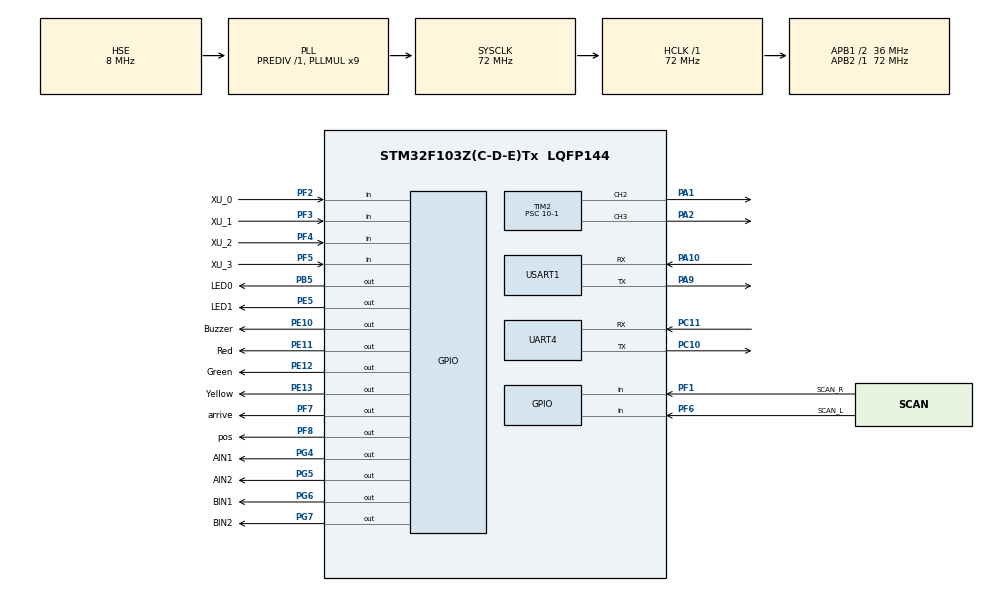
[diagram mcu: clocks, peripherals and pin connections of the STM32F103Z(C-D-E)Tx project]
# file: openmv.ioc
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Mcu.Family=STM32F1
Mcu.Name=STM32F103Z(C-D-E)Tx
Mcu.Package=LQFP144
NVIC.PriorityGroup=NVIC_PRIORITYGROUP_4
NVIC.TIM2_IRQn=true\:0\:0\:false\:false\:true\:true\:true
NVIC.TIM3_IRQn=true\:0\:0\:false\:false\:true\:true\:true
NVIC.UART4_IRQn=true\:1\:0\:true\:false\:true\:true\:true
NVIC.USART1_IRQn=true\:2\:0\:true\:false\:true\:true\:true
OSC_IN.Mode=HSE-External-Oscillator
OSC_IN.Signal=RCC_OSC_IN
OSC_OUT.Mode=HSE-External-Oscillator
OSC_OUT.Signal=RCC_OSC_OUT
PA1.Signal=S_TIM2_CH2
PA10.Mode=Asynchronous
PA10.Signal=USART1_RX
PA13.Mode=Serial_Wire
PA13.Signal=SYS_JTMS-SWDIO
PA14.Mode=Serial_Wire
PA14.Signal=SYS_JTCK-SWCLK
PA2.Signal=S_TIM2_CH3
PA9.Mode=Asynchronous
PA9.Signal=USART1_TX
PB5.GPIO_Label=LED0
PB5.Signal=GPIO_Output
PC10.Mode=Asynchronous
PC10.Signal=UART4_TX
PC11.Mode=Asynchronous
PC11.Signal=UART4_RX
PE10.GPIO_Label=Buzzer
PE10.GPIO_PuPd=GPIO_PULLUP
PE10.Signal=GPIO_Output
PE11.GPIO_Label=Red
PE11.GPIO_PuPd=GPIO_PULLDOWN
PE11.Signal=GPIO_Output
PE12.GPIO_Label=Green
PE12.GPIO_PuPd=GPIO_PULLDOWN
PE12.Signal=GPIO_Output
PE13.GPIO_Label=Yellow
PE13.GPIO_PuPd=GPIO_PULLDOWN
PE13.Signal=GPIO_Output
PE5.GPIO_Label=LED1
PE5.Signal=GPIO_Output
PF1.GPIO_Label=SCAN_R
PF1.GPIO_PuPd=GPIO_PULLUP
PF1.Signal=GPIO_Input
PF2.GPIO_Label=XU_0
PF2.GPIO_PuPd=GPIO_PULLDOWN
PF2.Signal=GPIO_Input
PF3.GPIO_Label=XU_1
PF3.GPIO_PuPd=GPIO_PULLDOWN
PF3.Signal=GPIO_Input
PF4.GPIO_Label=XU_2
PF4.GPIO_PuPd=GPIO_PULLDOWN
PF4.Signal=GPIO_Input
PF5.GPIO_Label=XU_3
PF5.GPIO_PuPd=GPIO_PULLDOWN
PF5.Signal=GPIO_Input
PF6.GPIO_Label=SCAN_L
PF6.GPIO_PuPd=GPIO_PULLUP
PF6.Signal=GPIO_Input
PF7.GPIO_Label=arrive
PF7.GPIO_PuPd=GPIO_PULLDOWN
PF7.Signal=GPIO_Output
PF8.GPIO_Label=pos
PF8.GPIO_PuPd=GPIO_NOPULL
PF8.Signal=GPIO_Output
PG4.GPIO_Label=AIN1
PG4.GPIO_Speed=GPIO_SPEED_FREQ_LOW
PG4.PinState=GPIO_PIN_RESET
PG4.Signal=GPIO_Output
PG5.GPIO_Label=AIN2
PG5.Signal=GPIO_Output
PG6.GPIO_Label=BIN1
PG6.Signal=GPIO_Output
PG7.GPIO_Label=BIN2
PG7.Signal=GPIO_Output
ProjectManager.HeapSize=0x200
ProjectManager.StackSize=0x400
ProjectManager.TargetToolchain=MDK-ARM V5.27
RCC.AHBFreq_Value=72000000
RCC.APB1CLKDivider=RCC_HCLK_DIV2
RCC.APB1Freq_Value=36000000
RCC.APB1TimFreq_Value=72000000
RCC.APB2Freq_Value=72000000
RCC.APB2TimFreq_Value=72000000
RCC.HCLKFreq_Value=72000000
RCC.PLLMUL=RCC_PLL_MUL9
RCC.PLLSourceVirtual=RCC_PLLSOURCE_HSE
RCC.SYSCLKFreq_VALUE=72000000
RCC.SYSCLKSource=RCC_SYSCLKSOURCE_PLLCLK
RCC.USBFreq_Value=72000000
SH.S_TIM2_CH2.0=TIM2_CH2,PWM Generation2 CH2
SH.S_TIM2_CH3.0=TIM2_CH3,PWM Generation3 CH3
TIM2.Channel-PWM\ Generation2\ CH2=TIM_CHANNEL_2
TIM2.Channel-PWM\ Generation3\ CH3=TIM_CHANNEL_3
TIM2.OCFastMode_PWM-PWM\ Generation2\ CH2=TIM_OCFAST_ENABLE
TIM2.OCFastMode_PWM-PWM\ Generation3\ CH3=TIM_OCFAST_ENABLE
TIM2.Period=330-1
TIM2.Prescaler=10-1
TIM3.Period=10000-1
TIM3.Prescaler=720-1
UART4.VirtualMode=Asynchronous
USART1.VirtualMode=VM_ASYNC
VP_TIM2_VS_ClockSourceINT.Mode=Internal
VP_TIM3_VS_ClockSourceINT.Mode=Internal
board=custom

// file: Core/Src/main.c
/* USER CODE BEGIN Header */
/**
  ******************************************************************************
  * @file           : main.c
  * @brief          : Main program body
  ******************************************************************************
  * @attention
  *
  * <h2><center>&copy; Copyright (c) 2021 STMicroelectronics.
  * All rights reserved.</center></h2>
  *
  * This software component is licensed by ST under BSD 3-Clause license,
  * the "License"; You may not use this file except in compliance with the
  * License. You may obtain a copy of the License at:
  *                        opensource.org/licenses/BSD-3-Clause
  *
  ******************************************************************************
  */
/* USER CODE END Header */
#include "main.h"
#include "tim.h"
#include "usart.h"
#include "gpio.h"

/* USER CODE BEGIN Includes */
#include "OpenMV.h"
#include "stdio.h"
/* USER CODE END Includes */

/* USER CODE BEGIN PTD */
uint8_t usart1_rxbuff;
uint8_t uart4_rxbuff;
uint8_t timer_count;
uint8_t cross2 = 0;
uint8_t cross3 = 0;
uint8_t cross4 = 0;
uint8_t cross5 = 0;
uint8_t startit = 0;
uint8_t start_move = 0;
uint8_t number_get_remind = 0;
extern uint8_t  Cx;
extern uint8_t  Cy;
/* USER CODE END PTD */

/* USER CODE BEGIN PD */
#define Get_Redline_L (HAL_GPIO_ReadPin(SCAN_L_GPIO_Port,SCAN_L_Pin) == 1)
#define Get_Redline_R (HAL_GPIO_ReadPin(SCAN_R_GPIO_Port,SCAN_R_Pin) == 1)
#define Get_line_0 (HAL_GPIO_ReadPin(XU_0_GPIO_Port,XU_0_Pin) == 1)
#define Get_line_1 (HAL_GPIO_ReadPin(XU_1_GPIO_Port,XU_1_Pin) == 1)
#define Get_line_2 (HAL_GPIO_ReadPin(XU_2_GPIO_Port,XU_2_Pin) == 1)
#define Get_yao (HAL_GPIO_ReadPin(XU_3_GPIO_Port,XU_3_Pin) == 1)
#define relse_yao (HAL_GPIO_ReadPin(XU_3_GPIO_Port,XU_3_Pin) == 0)

#define Red_LED_ON		HAL_GPIO_WritePin (Red_GPIO_Port,Red_Pin,GPIO_PIN_SET);
#define Red_LED_OFF		HAL_GPIO_WritePin (Red_GPIO_Port,Red_Pin,GPIO_PIN_RESET);
#define Green_LED_ON		HAL_GPIO_WritePin (Green_GPIO_Port,Green_Pin,GPIO_PIN_SET);
#define Green_LED_OFF		HAL_GPIO_WritePin (Green_GPIO_Port,Green_Pin,GPIO_PIN_RESET);
#define Yellow_LED_ON		HAL_GPIO_WritePin (Yellow_GPIO_Port,Yellow_Pin,GPIO_PIN_SET);
#define Yellow_LED_OFF		HAL_GPIO_WritePin (Yellow_GPIO_Port,Yellow_Pin,GPIO_PIN_RESET);
#define Buzzer_ON		HAL_GPIO_WritePin (Buzzer_GPIO_Port,Buzzer_Pin,GPIO_PIN_RESET);
#define Buzzer_OFF		HAL_GPIO_WritePin (Buzzer_GPIO_Port,Buzzer_Pin,GPIO_PIN_SET);

#define arrive HAL_GPIO_WritePin (arrive_GPIO_Port,arrive_Pin,GPIO_PIN_SET);
#define car2right HAL_GPIO_WritePin (pos_GPIO_Port,pos_Pin,GPIO_PIN_SET);
#define carleft HAL_GPIO_WritePin (pos_GPIO_Port,pos_Pin,GPIO_PIN_RESET);
/* USER CODE END PD */

void SystemClock_Config(void);

/* USER CODE BEGIN 0 */

void TIM_SetTIM2Compare3 (uint32_t compare)
{
  TIM2->CCR3=compare;
}

void TIM_SetTIM2Compare2 (uint32_t compare)
{
  TIM2->CCR2=compare;
}

void go_straight(uint16_t speed){
	TIM_SetTIM2Compare2(speed);
	TIM_SetTIM2Compare3(speed);
	HAL_GPIO_WritePin (AIN1_GPIO_Port,AIN1_Pin,GPIO_PIN_RESET);
	HAL_GPIO_WritePin (AIN2_GPIO_Port,AIN2_Pin,GPIO_PIN_SET);

	HAL_GPIO_WritePin (BIN1_GPIO_Port,BIN1_Pin,GPIO_PIN_RESET);
	HAL_GPIO_WritePin (BIN2_GPIO_Port,BIN2_Pin,GPIO_PIN_SET);
}
void go_back(uint16_t speed){
	TIM_SetTIM2Compare2(speed);
	TIM_SetTIM2Compare3(speed);
	HAL_GPIO_WritePin (AIN1_GPIO_Port,AIN1_Pin,GPIO_PIN_SET);
	HAL_GPIO_WritePin (AIN2_GPIO_Port,AIN2_Pin,GPIO_PIN_RESET);

	HAL_GPIO_WritePin (BIN1_GPIO_Port,BIN1_Pin,GPIO_PIN_SET);
	HAL_GPIO_WritePin (BIN2_GPIO_Port,BIN2_Pin,GPIO_PIN_RESET);
}

void stop(){

	HAL_GPIO_WritePin (AIN1_GPIO_Port,AIN1_Pin,GPIO_PIN_RESET);
	HAL_GPIO_WritePin (AIN2_GPIO_Port,AIN2_Pin,GPIO_PIN_RESET);

	HAL_GPIO_WritePin (BIN1_GPIO_Port,BIN1_Pin,GPIO_PIN_RESET);
	HAL_GPIO_WritePin (BIN2_GPIO_Port,BIN2_Pin,GPIO_PIN_RESET);
}

void turn_right(){
		TIM_SetTIM2Compare2(120);
		TIM_SetTIM2Compare3(120);
		HAL_GPIO_WritePin (AIN1_GPIO_Port,AIN1_Pin,GPIO_PIN_RESET);
		HAL_GPIO_WritePin (AIN2_GPIO_Port,AIN2_Pin,GPIO_PIN_SET);

		HAL_GPIO_WritePin (BIN1_GPIO_Port,BIN1_Pin,GPIO_PIN_SET);
		HAL_GPIO_WritePin (BIN2_GPIO_Port,BIN2_Pin,GPIO_PIN_RESET);
}

void turn_back(uint16_t h,uint16_t l){
		TIM_SetTIM2Compare2(h);
		TIM_SetTIM2Compare3(l);
		HAL_GPIO_WritePin (AIN1_GPIO_Port,AIN1_Pin,GPIO_PIN_SET);
		HAL_GPIO_WritePin (AIN2_GPIO_Port,AIN2_Pin,GPIO_PIN_RESET);

		HAL_GPIO_WritePin (BIN1_GPIO_Port,BIN1_Pin,GPIO_PIN_RESET);
		HAL_GPIO_WritePin (BIN2_GPIO_Port,BIN2_Pin,GPIO_PIN_SET);
}

void turn_left(){
	TIM_SetTIM2Compare2(120);
	TIM_SetTIM2Compare3(120);
	HAL_GPIO_WritePin (AIN1_GPIO_Port,AIN1_Pin,GPIO_PIN_SET);
	HAL_GPIO_WritePin (AIN2_GPIO_Port,AIN2_Pin,GPIO_PIN_RESET);

	HAL_GPIO_WritePin (BIN1_GPIO_Port,BIN1_Pin,GPIO_PIN_RESET);
	HAL_GPIO_WritePin (BIN2_GPIO_Port,BIN2_Pin,GPIO_PIN_SET);
}

void scan_right(uint16_t h,uint16_t l){
		TIM_SetTIM2Compare2(l);
		TIM_SetTIM2Compare3(h);
		HAL_GPIO_WritePin (AIN1_GPIO_Port,AIN1_Pin,GPIO_PIN_RESET);
		HAL_GPIO_WritePin (AIN2_GPIO_Port,AIN2_Pin,GPIO_PIN_SET);

		HAL_GPIO_WritePin (BIN1_GPIO_Port,BIN1_Pin,GPIO_PIN_RESET);
		HAL_GPIO_WritePin (BIN2_GPIO_Port,BIN2_Pin,GPIO_PIN_SET);
}

void scan_left(uint16_t h,uint16_t l){
		TIM_SetTIM2Compare2(h);
		TIM_SetTIM2Compare3(l);
		HAL_GPIO_WritePin (AIN1_GPIO_Port,AIN1_Pin,GPIO_PIN_RESET);
		HAL_GPIO_WritePin (AIN2_GPIO_Port,AIN2_Pin,GPIO_PIN_SET);

		HAL_GPIO_WritePin (BIN1_GPIO_Port,BIN1_Pin,GPIO_PIN_RESET);
		HAL_GPIO_WritePin (BIN2_GPIO_Port,BIN2_Pin,GPIO_PIN_SET);

}

void HAL_TIM_PeriodElapsedCallback(TIM_HandleTypeDef *htim)
{
	timer_count++;
	if(timer_count == 100){
		cross2 = 1;
		timer_count = 0;
		HAL_TIM_Base_Stop_IT(&htim3);
	}
}
/* USER CODE END 0 */

int main(void)
{

  /* MCU Configuration--------------------------------------------------------*/

  /* Reset of all peripherals, Initializes the Flash interface and the Systick. */
  HAL_Init();

  /* Configure the system clock */
  SystemClock_Config();

  /* Initialize all configured peripherals */
  MX_GPIO_Init();
  MX_UART4_Init();
  MX_USART1_UART_Init();
  MX_TIM2_Init();
  MX_TIM3_Init();
  /* USER CODE BEGIN 2 */
	HAL_UART_Receive_IT(&huart4,(void *)&uart4_rxbuff,1);
	HAL_UART_Receive_IT(&huart1,(void *)&usart1_rxbuff,1);
	uint8_t turn_count = 0;
	uint8_t back = 0;
	uint8_t back_ok = 0;
	uint8_t cross = 0;
	uint8_t cross2_turn_ok = 0;
	uint8_t back2_ok = 0;
	uint8_t turn_ok = 0;
	uint8_t turn1_ok = 0;
	uint8_t turn2_ok = 0;
	Buzzer_OFF;
  /* USER CODE END 2 */

  /* Infinite loop */
  while (1)
  {

    /* USER CODE BEGIN 3 */
		/*************************************************************			number2     *********************************************/
		if(Cx == 2){
			while(number_get_remind == 0){
				Buzzer_ON;
				HAL_Delay(500);
				Buzzer_OFF;
				number_get_remind = 1;
			}
		if(Cx == 2 && Get_yao && back == 0){
		 while(start_move == 0){
				go_straight(70);
				HAL_Delay(800);
				start_move = 1;
			}
			go_straight(70);
			if(Get_Redline_L){
				scan_right(210,0);
			}
			if(Get_Redline_R){
				scan_left(210,0);
			}
			if(Get_Redline_L && Get_Redline_R){
				HAL_Delay(100);
				turn_right();
				HAL_Delay(600);
			}
			if(Get_line_0 || Get_line_1 || Get_line_2 ){
				stop();
		  	Red_LED_ON;
				HAL_Delay(1000);
				back = 1;
			}
		}

		 if(relse_yao && back == 1 && back_ok == 0){
			  Red_LED_OFF;
			  HAL_Delay(500);
			  turn_back(128,128);
				HAL_Delay(1200);
			  back_ok = 1;
	  	}
     if (back_ok == 1 && back2_ok == 0){
				go_straight(70);
			if(Get_Redline_L && Get_Redline_R){
				turn_left();
				HAL_Delay(600);
				back2_ok = 1;
			}
			if(Get_Redline_L){
				scan_right(210,0);
			}
			if(Get_Redline_R){
				scan_left(210,0);
			}
			}
		 	if(back2_ok == 1){
				go_straight(70);
				if(Get_Redline_L){
					scan_right(210,0);
				}
				if(Get_Redline_R){
					scan_left(210,0);
				}
				if(Get_line_0 || Get_line_1 || Get_line_2 ){
					stop();
					Green_LED_ON;
					HAL_Delay(9000);
				}
		}
		}
/******************************************************************************************************************************/

/*************************************************************			number1     *********************************************/

		if(Cx == 1){
			while(number_get_remind == 0){
				Buzzer_ON;
				HAL_Delay(500);
				Buzzer_OFF;
				number_get_remind = 1;
			}
		if(Cx == 1 && Get_yao && back == 0  ){
			while(start_move == 0){
				go_straight(70);
				HAL_Delay(800);
				start_move = 1;
			}
			go_straight(70);
			if(Get_Redline_L){
				scan_right(210,0);
			}
			if(Get_Redline_R){
				scan_left(210,0);
			}
			if(Get_Redline_L && Get_Redline_R){
				HAL_Delay(50);
				turn_left();
				HAL_Delay(700);
			}
			if(Get_line_0 || Get_line_1 || Get_line_2 ){
				stop();
				Red_LED_ON;
				back = 1;
				HAL_Delay(1000);
			}
		}

		 if(relse_yao && back == 1 && back_ok == 0){
			 	Red_LED_OFF;
			  HAL_Delay(500);
				turn_back(128,128);
				HAL_Delay(1200);
			  back_ok = 1;
	  	}

     if (back_ok == 1 && back2_ok == 0){
				go_straight(70);
			if(Get_Redline_L && Get_Redline_R){
			  HAL_Delay(80);
        turn_right();
				HAL_Delay(600);
				back2_ok = 1;
			}
			if(Get_Redline_L){
				scan_right(210,0);
			}
			if(Get_Redline_R){
				scan_left(210,0);
			}
			}

			if(back2_ok == 1){
				go_straight(70);
				if(Get_Redline_L){
					scan_right(210,0);
				}
				if(Get_Redline_R){
					scan_left(210,0);
				}
				if(Get_line_0 || Get_line_1 || Get_line_2 ){
					stop();
					Green_LED_ON;
					HAL_Delay(9000);
				}
		}
		}
/*********************************************************************************************************/

/******************************************************number3************************************************/
	/*	if(Cx == 3){
			while(number_get_remind == 0){
				Buzzer_ON;
				HAL_Delay(500);
				Buzzer_OFF;
				number_get_remind = 1;
			}
			if(Cx == 3 && Get_yao && cross == 0  && cross2 == 0 && cross3 == 0 && cross4 == 0 && cross5 == 0 ){
			 while(start_move == 0){
				go_straight(70);
				HAL_Delay(800);
				start_move = 1;
			}
			go_straight(110);
			if(Get_Redline_L){
				scan_right(130,50);
			}
			if(Get_Redline_R){
				scan_left(130,50);
			}

			if(Cy == 0 && Get_Redline_L && Get_Redline_R){
				cross = 1;
		  	go_straight(110);
				HAL_Delay(1620);
				stop();
			}
		}
			if(cross == 1 && Cy == 0 && cross2 == 0 && cross2 == 0 && cross3 == 0 && cross4 == 0 && cross5 == 0 ){
        while(startit == 0){
					HAL_TIM_Base_Start_IT(&htim3);
					startit = 1;
				}
				for(uint8_t i=0;i<80;i++){
					go_back(i);
					HAL_Delay(12);
				}
				for(uint8_t i=0;i<80;i++){
			    go_straight(i);
					HAL_Delay(12);
				}
			}

//misson 2

			if(Cy == 1 && cross == 1 && turn_ok == 0  && back == 0 && cross2 == 0){
				go_straight(110);
				if(Get_Redline_L){
					scan_right(200,0);
				}
				if(Get_Redline_R){
					scan_left(200,0);
				}
	     if(Get_Redline_L && Get_Redline_R){
					HAL_Delay(60);
					turn_left();
					HAL_Delay(1000);
				  turn_ok = 1;
			 }
			}

			if(Cy == 1 && cross == 1 && turn_ok == 1 && back == 0 && turn1_ok == 0 && cross2 == 0){
				go_straight(80);
				if(Get_Redline_L){
					scan_right(210,0);
				}
				if(Get_Redline_R){
					scan_left(210,0);
				}
		 if(Get_line_0 || Get_line_1 || Get_line_2 ){
				stop();
				Red_LED_ON;
				back = 1;
				HAL_Delay(1000);
			}
		}

			if(Cy == 2 && cross == 1 && turn_ok == 0  && back == 0 && cross2 == 0){
				go_straight(110);
				if(Get_Redline_L){
					scan_right(200,0);
				}
				if(Get_Redline_R){
					scan_left(200,0);
				}
	     if(Get_Redline_L && Get_Redline_R){
					HAL_Delay(60);
					turn_right();
					HAL_Delay(800);
				  turn_ok = 1;
			 }
			}
		if(Cy == 2 && cross == 1 && turn_ok == 1 && back == 0 && turn1_ok == 0 && cross2 == 0){
				go_straight(80);
				if(Get_Redline_L){
					scan_right(210,0);
				}
				if(Get_Redline_R){
					scan_left(210,0);
				}
		 if(Get_line_0 || Get_line_1 || Get_line_2 ){
				stop();
				Red_LED_ON;
				back = 1;
				HAL_Delay(1000);
			}
		}

		 if(relse_yao && back == 1 && back_ok == 0 && cross2 == 0){
			 	Red_LED_OFF;
			  back_ok = 1;
				turn_back(128,128);
				HAL_Delay(1300);
	  	}

		 if (Cy == 2 && back_ok == 1 && turn1_ok == 0 && cross2 == 0){
				go_straight(110);
			if(Get_Redline_L){
					scan_right(210,0);
				}
				if(Get_Redline_R){
					scan_left(210,0);
				}
			if(Get_Redline_L && Get_Redline_R) {
        turn_left();
				HAL_Delay(720);
				back2_ok = 1;
				turn1_ok = 1;
			}
		}

			if (Cy == 1 && back_ok == 1 && turn1_ok == 0 && cross2 == 0){
				go_straight(110);
			if(Get_Redline_L){
					scan_right(210,0);
				}
				if(Get_Redline_R){
					scan_left(210,0);
				}
			if(Get_Redline_L && Get_Redline_R){
        turn_right();
				HAL_Delay(800);
				back2_ok = 1;
				turn1_ok = 1;
			}
		}

		 if (back2_ok == 1 && turn2_ok == 0 && turn1_ok == 1 && cross2 == 0 && cross3 == 0 && cross4 == 0 && cross5 == 0  && Cy != 0 ){
			 go_straight(140);
			if(Get_Redline_L){
				scan_right(210,0);
			}
			if(Get_Redline_R){
				scan_left(210,0);
			}
			if(Get_Redline_L && Get_Redline_R){
					turn2_ok = 1;
			}
		}

		 if (back2_ok == 1 && turn2_ok == 1 && turn1_ok == 1 && cross2 == 0 && cross3 == 0 && cross4 == 0 && cross5 == 0 && Cy != 0 ){
		   go_straight(80);
			 if(Get_Redline_L){
				scan_right(210,0);
			}
			if(Get_Redline_R){
				scan_left(210,0);
			}
		 	if(Get_line_0 || Get_line_1 || Get_line_2 ){
				stop();
				Green_LED_ON;
				HAL_Delay(9000);
			}
		 }

//misson 3
		 if (Cy == 0 && cross2 == 1 && cross2_turn_ok == 0 &&	cross4 == 0 && cross5 == 0){
			 while (cross3 == 0){
				 	go_straight(110);
				 HAL_Delay(1000);
				 cross3 = 1;
			 }
				go_straight(110);
				if(Get_Redline_L){
					scan_right(210,0);
				}
				if(Get_Redline_R){
					scan_left(210,0);
				}
			if(Get_Redline_L && Get_Redline_R){
				cross4 = 1;
				turn_left();
				HAL_Delay(1100);
			}
		 }
		 if (Cy == 0 && cross2 == 1 && cross2_turn_ok == 0 && cross3 == 1 && cross4 == 1 && cross5 == 0){
			 	go_straight(110);
				if(Get_Redline_L){
					scan_right(210,0);
				}
				if(Get_Redline_R){
					scan_left(210,0);
				}
			if(Get_Redline_L && Get_Redline_R){
				cross5 = 1;
				turn_left();
				HAL_Delay(900);
			}
		}

	  if (Cy == 0 && cross2 == 1 && cross2_turn_ok == 0 && cross3 == 1 && cross4 == 1 && cross5 == 1){
				go_straight(110);
				if(Get_Redline_L){
					scan_right(210,0);
				}
				if(Get_Redline_R){
					scan_left(210,0);
				}
			if(Get_Redline_L && Get_Redline_R){
				HAL_Delay(50);
				turn_left();
				HAL_Delay(900);
			}
		 	if(Get_line_0 || Get_line_1 || Get_line_2 ){
				stop();
				Green_LED_ON;
				HAL_Delay(9000);
			}
		}
	}*/
	  if(Cx == 3){
			while(number_get_remind == 0){
				Buzzer_ON;
				HAL_Delay(500);
				Buzzer_OFF;
				number_get_remind = 1;
			}
			if(Cx == 3 && Get_yao && cross == 0 ){
		 while(start_move == 0){
				go_straight(70);
				HAL_Delay(800);
				start_move = 1;
			}
			go_straight(110);
			if(Get_Redline_L){
				scan_right(130,50);
			}
			if(Get_Redline_R){
				scan_left(130,50);
			}

			if(Cy == 0 && Get_Redline_L && Get_Redline_R){
				cross = 1;
		  	go_straight(110);
				HAL_Delay(1620);
				stop();
			}
		}
			if(cross == 1 && Cy == 0){
				for(uint8_t i=0;i<80;i++){
					go_back(i);
					HAL_Delay(12);
				}
				for(uint8_t i=0;i<80;i++){
			    go_straight(i);
					HAL_Delay(12);
				}
			}

			if(Cy == 1 && cross == 1 && turn_ok == 0  && back == 0){
				go_straight(110);
				if(Get_Redline_L){
					scan_right(200,0);
				}
				if(Get_Redline_R){
					scan_left(200,0);
				}
	     if(Get_Redline_L && Get_Redline_R){
					HAL_Delay(60);
					turn_left();
					HAL_Delay(1000);
				  turn_ok = 1;
			 }
			}

			if(Cy == 1 && cross == 1 && turn_ok == 1 && back == 0 && turn1_ok == 0){
				go_straight(80);
				if(Get_Redline_L){
					scan_right(210,0);
				}
				if(Get_Redline_R){
					scan_left(210,0);
				}
		 if(Get_line_0 || Get_line_1 || Get_line_2 ){
				stop();
				Red_LED_ON;
				back = 1;
				HAL_Delay(1000);
			}
		}

			if(Cy == 2 && cross == 1 && turn_ok == 0  && back == 0){
				go_straight(110);
				if(Get_Redline_L){
					scan_right(200,0);
				}
				if(Get_Redline_R){
					scan_left(200,0);
				}
	     if(Get_Redline_L && Get_Redline_R){
					HAL_Delay(60);
					turn_right();
					HAL_Delay(750);
				  turn_ok = 1;
			 }
			}
		if(Cy == 2 && cross == 1 && turn_ok == 1 && back == 0 && turn1_ok == 0){
				go_straight(80);
				if(Get_Redline_L){
					scan_right(210,0);
				}
				if(Get_Redline_R){
					scan_left(210,0);
				}
		 if(Get_line_0 || Get_line_1 || Get_line_2 ){
				stop();
				Red_LED_ON;
				back = 1;
				HAL_Delay(1000);
			}
		}

		 if(relse_yao && back == 1 && back_ok == 0){
			 	Red_LED_OFF;
			 	HAL_Delay(500);
			  back_ok = 1;
				turn_back(128,128);
				HAL_Delay(1200);
	  	}

		 if (Cy == 2 && back_ok == 1 && turn1_ok == 0){
				go_straight(110);
			if(Get_Redline_L){
					scan_right(210,0);
				}
				if(Get_Redline_R){
					scan_left(210,0);
				}
			if(Get_Redline_L && Get_Redline_R){
        turn_left();
				HAL_Delay(850);
				back2_ok = 1;
				turn1_ok = 1;
			}
		}

		if (Cy == 1 && back_ok == 1 && turn1_ok == 0){
				go_straight(110);
			if(Get_Redline_L){
					scan_right(210,0);
				}
				if(Get_Redline_R){
					scan_left(210,0);
				}
			if(Get_Redline_L && Get_Redline_R){
        turn_right();
				HAL_Delay(800);
				back2_ok = 1;
				turn1_ok = 1;
			}
		}

		 if (back2_ok == 1 && turn2_ok == 0 && turn1_ok == 1){
			 go_straight(110);
			if(Get_Redline_L){
				scan_right(210,0);
			}
			if(Get_Redline_R){
				scan_left(210,0);
			}
			if(Get_Redline_L && Get_Redline_R){
					turn2_ok = 1;
			}
		}

		 if (back2_ok == 1 && turn2_ok == 1 && turn1_ok == 1){
		   go_straight(90);
			 if(Get_Redline_L){
				scan_right(210,0);
			}
			if(Get_Redline_R){
				scan_left(210,0);
			}
		 	if(Get_line_0 || Get_line_1 || Get_line_2 ){
				stop();
				Green_LED_ON;
				HAL_Delay(9000);
			}
		 }

	}
/*******************************************************************************************************************************************/

	/***************************************************************number4********************************************************************/
			if(Cx == 4){
			while(number_get_remind == 0){
				Buzzer_ON;
				HAL_Delay(500);
				Buzzer_OFF;
				number_get_remind = 1;
			}
			if(Cx == 4 && Get_yao && cross == 0 ){
		 while(start_move == 0){
				go_straight(70);
				HAL_Delay(800);
				start_move = 1;
			}
			go_straight(110);
			if(Get_Redline_L){
				scan_right(130,50);
			}
			if(Get_Redline_R){
				scan_left(130,50);
			}

			if(Cy == 0 && Get_Redline_L && Get_Redline_R){
				cross = 1;
		  	go_straight(110);
				HAL_Delay(1620);
				stop();
			}
		}
			if(cross == 1 && Cy == 0){
				for(uint8_t i=0;i<80;i++){
					go_back(i);
					HAL_Delay(12);
				}
				for(uint8_t i=0;i<80;i++){
			    go_straight(i);
					HAL_Delay(12);
				}
			}

			if(Cy == 1 && cross == 1 && turn_ok == 0  && back == 0){
				go_straight(110);
				if(Get_Redline_L){
					scan_right(200,0);
				}
				if(Get_Redline_R){
					scan_left(200,0);
				}
	     if(Get_Redline_L && Get_Redline_R){
					HAL_Delay(60);
					turn_left();
					HAL_Delay(1000);
				  turn_ok = 1;
			 }
			}

			if(Cy == 1 && cross == 1 && turn_ok == 1 && back == 0 && turn1_ok == 0){
				go_straight(80);
				if(Get_Redline_L){
					scan_right(210,0);
				}
				if(Get_Redline_R){
					scan_left(210,0);
				}
		 if(Get_line_0 || Get_line_1 || Get_line_2 ){
				stop();
				Red_LED_ON;
				back = 1;
				HAL_Delay(1000);
			}
		}

			if(Cy == 2 && cross == 1 && turn_ok == 0  && back == 0){
				go_straight(110);
				if(Get_Redline_L){
					scan_right(200,0);
				}
				if(Get_Redline_R){
					scan_left(200,0);
				}
	     if(Get_Redline_L && Get_Redline_R){
					HAL_Delay(60);
					turn_right();
					HAL_Delay(750);
				  turn_ok = 1;
			 }
			}
		if(Cy == 2 && cross == 1 && turn_ok == 1 && back == 0 && turn1_ok == 0){
				go_straight(80);
				if(Get_Redline_L){
					scan_right(210,0);
				}
				if(Get_Redline_R){
					scan_left(210,0);
				}
		 if(Get_line_0 || Get_line_1 || Get_line_2 ){
				stop();
				Red_LED_ON;
				back = 1;
				HAL_Delay(1000);
			}
		}

		 if(relse_yao && back == 1 && back_ok == 0){
			 	Red_LED_OFF;
			 	HAL_Delay(500);
			  back_ok = 1;
				turn_back(128,128);
				HAL_Delay(1300);
	  	}

		 if (Cy == 2 && back_ok == 1 && turn1_ok == 0){
				go_straight(110);
			if(Get_Redline_L){
					scan_right(210,0);
				}
				if(Get_Redline_R){
					scan_left(210,0);
				}
			if(Get_Redline_L && Get_Redline_R){
        turn_left();
				HAL_Delay(900);
				back2_ok = 1;
				turn1_ok = 1;
			}
		}

		if (Cy == 1 && back_ok == 1 && turn1_ok == 0){
				go_straight(110);
			if(Get_Redline_L){
					scan_right(210,0);
				}
				if(Get_Redline_R){
					scan_left(210,0);
				}
			if(Get_Redline_L && Get_Redline_R){
        turn_right();
				HAL_Delay(750);
				back2_ok = 1;
				turn1_ok = 1;
			}
		}

		 if (back2_ok == 1 && turn2_ok == 0 && turn1_ok == 1){
			 go_straight(110);
			if(Get_Redline_L){
				scan_right(210,0);
			}
			if(Get_Redline_R){
				scan_left(210,0);
			}
			if(Get_Redline_L && Get_Redline_R){
					turn2_ok = 1;
			}
		}

		 if (back2_ok == 1 && turn2_ok == 1 && turn1_ok == 1){
		   go_straight(90);
			 if(Get_Redline_L){
				scan_right(210,0);
			}
			if(Get_Redline_R){
				scan_left(210,0);
			}
		 	if(Get_line_0 || Get_line_1 || Get_line_2 ){
				stop();
				Green_LED_ON;
				HAL_Delay(9000);
			}
		 }

	}
/************************************************************************************************************/

/*******************************************************number5***********************************************/
			if(Cx == 5){
			while(number_get_remind == 0){
				Buzzer_ON;
				HAL_Delay(500);
				Buzzer_OFF;
				number_get_remind = 1;
			}
			if(Cx == 5 && Get_yao && cross == 0 ){
		 while(start_move == 0){
				go_straight(70);
				HAL_Delay(800);
				start_move = 1;
			}
			go_straight(110);
			if(Get_Redline_L){
				scan_right(130,50);
			}
			if(Get_Redline_R){
				scan_left(130,50);
			}

			if(Cy == 0 && Get_Redline_L && Get_Redline_R){
				cross = 1;
		  	go_straight(110);
				HAL_Delay(1620);
				stop();
			}
		}
			if(cross == 1 && Cy == 0){
				for(uint8_t i=0;i<80;i++){
					go_back(i);
					HAL_Delay(12);
				}
				for(uint8_t i=0;i<80;i++){
			    go_straight(i);
					HAL_Delay(12);
				}
			}

			if(Cy == 1 && cross == 1 && turn_ok == 0  && back == 0){
				go_straight(110);
				if(Get_Redline_L){
					scan_right(200,0);
				}
				if(Get_Redline_R){
					scan_left(200,0);
				}
	     if(Get_Redline_L && Get_Redline_R){
					HAL_Delay(60);
					turn_left();
					HAL_Delay(1000);
				  turn_ok = 1;
			 }
			}

			if(Cy == 1 && cross == 1 && turn_ok == 1 && back == 0 && turn1_ok == 0){
				go_straight(80);
				if(Get_Redline_L){
					scan_right(210,0);
				}
				if(Get_Redline_R){
					scan_left(210,0);
				}
		 if(Get_line_0 || Get_line_1 || Get_line_2 ){
				stop();
				Red_LED_ON;
				back = 1;
				HAL_Delay(1000);
			}
		}

			if(Cy == 2 && cross == 1 && turn_ok == 0  && back == 0){
				go_straight(110);
				if(Get_Redline_L){
					scan_right(200,0);
				}
				if(Get_Redline_R){
					scan_left(200,0);
				}
	     if(Get_Redline_L && Get_Redline_R){
					HAL_Delay(60);
					turn_right();
					HAL_Delay(750);
				  turn_ok = 1;
			 }
			}
		if(Cy == 2 && cross == 1 && turn_ok == 1 && back == 0 && turn1_ok == 0){
				go_straight(80);
				if(Get_Redline_L){
					scan_right(210,0);
				}
				if(Get_Redline_R){
					scan_left(210,0);
				}
		 if(Get_line_0 || Get_line_1 || Get_line_2 ){
				stop();
				Red_LED_ON;
				back = 1;
				HAL_Delay(1000);
			}
		}

		 if(relse_yao && back == 1 && back_ok == 0){
			 	Red_LED_OFF;
			  back_ok = 1;
				turn_back(128,128);
				HAL_Delay(1500);
	  	}

		 if (Cy == 2 && back_ok == 1 && turn1_ok == 0){
				go_straight(110);
			if(Get_Redline_L){
					scan_right(210,0);
				}
				if(Get_Redline_R){
					scan_left(210,0);
				}
			if(Get_Redline_L && Get_Redline_R){
        turn_left();
				HAL_Delay(850);
				back2_ok = 1;
				turn1_ok = 1;
			}
		}

			if (Cy == 1 && back_ok == 1 && turn1_ok == 0){
				go_straight(110);
			if(Get_Redline_L){
					scan_right(210,0);
				}
				if(Get_Redline_R){
					scan_left(210,0);
				}
			if(Get_Redline_L && Get_Redline_R){
        turn_right();
				HAL_Delay(850);
				back2_ok = 1;
				turn1_ok = 1;
			}
		}

		 if (back2_ok == 1 && turn2_ok == 0 && turn1_ok == 1){
			 go_straight(110);
			if(Get_Redline_L){
				scan_right(210,0);
			}
			if(Get_Redline_R){
				scan_left(210,0);
			}
			if(Get_Redline_L && Get_Redline_R){
					turn2_ok = 1;
			}
		}

		 if (back2_ok == 1 && turn2_ok == 1 && turn1_ok == 1){
		   go_straight(90);
			 if(Get_Redline_L){
				scan_right(210,0);
			}
			if(Get_Redline_R){
				scan_left(210,0);
			}
		 	if(Get_line_0 || Get_line_1 || Get_line_2 ){
				stop();
				Green_LED_ON;
				HAL_Delay(9000);
			}
		 }

	}
/********************************************************************************************************************/

/*******************************************************number6*******************************************************/
			if(Cx == 6){
			while(number_get_remind == 0){
				Buzzer_ON;
				HAL_Delay(500);
				Buzzer_OFF;
				number_get_remind = 1;
			}
			if(Cx == 6 && Get_yao && cross == 0 ){
		 while(start_move == 0){
				go_straight(70);
				HAL_Delay(800);
				start_move = 1;
			}
			go_straight(110);
			if(Get_Redline_L){
				scan_right(130,50);
			}
			if(Get_Redline_R){
				scan_left(130,50);
			}

			if(Cy == 0 && Get_Redline_L && Get_Redline_R){
				cross = 1;
		  	go_straight(110);
				HAL_Delay(1620);
				stop();
			}
		}
			if(cross == 1 && Cy == 0){
				for(uint8_t i=0;i<80;i++){
					go_back(i);
					HAL_Delay(12);
				}
				for(uint8_t i=0;i<80;i++){
			    go_straight(i);
					HAL_Delay(12);
				}
			}

			if(Cy == 1 && cross == 1 && turn_ok == 0  && back == 0){
				go_straight(110);
				if(Get_Redline_L){
					scan_right(200,0);
				}
				if(Get_Redline_R){
					scan_left(200,0);
				}
	     if(Get_Redline_L && Get_Redline_R){
					HAL_Delay(60);
					turn_left();
					HAL_Delay(1000);
				  turn_ok = 1;
			 }
			}

			if(Cy == 1 && cross == 1 && turn_ok == 1 && back == 0 && turn1_ok == 0){
				go_straight(80);
				if(Get_Redline_L){
					scan_right(210,0);
				}
				if(Get_Redline_R){
					scan_left(210,0);
				}
		 if(Get_line_0 || Get_line_1 || Get_line_2 ){
				stop();
				Red_LED_ON;
				back = 1;
				HAL_Delay(1000);
			}
		}

			if(Cy == 2 && cross == 1 && turn_ok == 0  && back == 0){
				go_straight(110);
				if(Get_Redline_L){
					scan_right(200,0);
				}
				if(Get_Redline_R){
					scan_left(200,0);
				}
	     if(Get_Redline_L && Get_Redline_R){
					HAL_Delay(60);
					turn_right();
					HAL_Delay(800);
				  turn_ok = 1;
			 }
			}
		if(Cy == 2 && cross == 1 && turn_ok == 1 && back == 0 && turn1_ok == 0){
				go_straight(80);
				if(Get_Redline_L){
					scan_right(210,0);
				}
				if(Get_Redline_R){
					scan_left(210,0);
				}
		 if(Get_line_0 || Get_line_1 || Get_line_2 ){
				stop();
				Red_LED_ON;
				back = 1;
				HAL_Delay(1000);
			}
		}

		 if(relse_yao && back == 1 && back_ok == 0){
			 	Red_LED_OFF;
			  back_ok = 1;
				turn_back(128,128);
				HAL_Delay(1500);
	  	}

		 if (Cy == 2 && back_ok == 1 && turn1_ok == 0){
				go_straight(110);
			if(Get_Redline_L){
					scan_right(210,0);
				}
				if(Get_Redline_R){
					scan_left(210,0);
				}
			if(Get_Redline_L && Get_Redline_R){
        turn_left();
				HAL_Delay(900);
				back2_ok = 1;
				turn1_ok = 1;
			}
		}

			if (Cy == 1 && back_ok == 1 && turn1_ok == 0){
				go_straight(110);
			if(Get_Redline_L){
					scan_right(210,0);
				}
				if(Get_Redline_R){
					scan_left(210,0);
				}
			if(Get_Redline_L && Get_Redline_R){
        turn_right();
				HAL_Delay(900);
				back2_ok = 1;
				turn1_ok = 1;
			}
		}

		 if (back2_ok == 1 && turn2_ok == 0 && turn1_ok == 1){
			 go_straight(140);
			if(Get_Redline_L){
				scan_right(210,0);
			}
			if(Get_Redline_R){
				scan_left(210,0);
			}
			if(Get_Redline_L && Get_Redline_R){
					turn2_ok = 1;
			}
		}

		 if (back2_ok == 1 && turn2_ok == 1 && turn1_ok == 1){
		   go_straight(90);
			 if(Get_Redline_L){
				scan_right(210,0);
			}
			if(Get_Redline_R){
				scan_left(210,0);
			}
		 	if(Get_line_0 || Get_line_1 || Get_line_2 ){
				stop();
				Green_LED_ON;
				HAL_Delay(9000);
			}
		 }

	}
/***************************************************************************************************************************/

/*********************************************************number7*************************************************************/
		if(Cx == 7){
			while(number_get_remind == 0){
				Buzzer_ON;
				HAL_Delay(500);
				Buzzer_OFF;
				number_get_remind = 1;
			}
			if(Cx == 7 && Get_yao && cross == 0 ){
		 while(start_move == 0){
				go_straight(70);
				HAL_Delay(800);
				start_move = 1;
			}
			go_straight(110);
			if(Get_Redline_L){
				scan_right(130,50);
			}
			if(Get_Redline_R){
				scan_left(130,50);
			}

			if(Cy == 0 && Get_Redline_L && Get_Redline_R){
				cross = 1;
		  	go_straight(110);
				HAL_Delay(1620);
				stop();
			}
		}
			if(cross == 1 && Cy == 0){
				for(uint8_t i=0;i<80;i++){
					go_back(i);
					HAL_Delay(12);
				}
				for(uint8_t i=0;i<80;i++){
			    go_straight(i);
					HAL_Delay(12);
				}
			}

			if(Cy == 1 && cross == 1 && turn_ok == 0  && back == 0){
				go_straight(110);
				if(Get_Redline_L){
					scan_right(200,0);
				}
				if(Get_Redline_R){
					scan_left(200,0);
				}
	     if(Get_Redline_L && Get_Redline_R){
					HAL_Delay(60);
					turn_left();
					HAL_Delay(1000);
				  turn_ok = 1;
			 }
			}

			if(Cy == 1 && cross == 1 && turn_ok == 1 && back == 0 && turn1_ok == 0){
				go_straight(80);
				if(Get_Redline_L){
					scan_right(210,0);
				}
				if(Get_Redline_R){
					scan_left(210,0);
				}
		 if(Get_line_0 || Get_line_1 || Get_line_2 ){
				stop();
				Red_LED_ON;
				back = 1;
				HAL_Delay(1000);
			}
		}

			if(Cy == 2 && cross == 1 && turn_ok == 0  && back == 0){
				go_straight(110);
				if(Get_Redline_L){
					scan_right(200,0);
				}
				if(Get_Redline_R){
					scan_left(200,0);
				}
	     if(Get_Redline_L && Get_Redline_R){
					HAL_Delay(60);
					turn_right();
					HAL_Delay(800);
				  turn_ok = 1;
			 }
			}
		if(Cy == 2 && cross == 1 && turn_ok == 1 && back == 0 && turn1_ok == 0){
				go_straight(80);
				if(Get_Redline_L){
					scan_right(210,0);
				}
				if(Get_Redline_R){
					scan_left(210,0);
				}
		 if(Get_line_0 || Get_line_1 || Get_line_2 ){
				stop();
				Red_LED_ON;
				back = 1;
				HAL_Delay(1000);
			}
		}

		 if(relse_yao && back == 1 && back_ok == 0){
			 	Red_LED_OFF;
			  back_ok = 1;
				turn_back(128,128);
				HAL_Delay(1500);
	  	}

		 if (Cy == 2 && back_ok == 1 && turn1_ok == 0){
				go_straight(110);
			if(Get_Redline_L){
					scan_right(210,0);
				}
				if(Get_Redline_R){
					scan_left(210,0);
				}
			if(Get_Redline_L && Get_Redline_R){
        turn_left();
				HAL_Delay(900);
				back2_ok = 1;
				turn1_ok = 1;
			}
		}

			if (Cy == 1 && back_ok == 1 && turn1_ok == 0){
				go_straight(110);
			if(Get_Redline_L){
					scan_right(210,0);
				}
				if(Get_Redline_R){
					scan_left(210,0);
				}
			if(Get_Redline_L && Get_Redline_R){
        turn_right();
				HAL_Delay(900);
				back2_ok = 1;
				turn1_ok = 1;
			}
		}

		 if (back2_ok == 1 && turn2_ok == 0 && turn1_ok == 1){
			 go_straight(140);
			if(Get_Redline_L){
				scan_right(210,0);
			}
			if(Get_Redline_R){
				scan_left(210,0);
			}
			if(Get_Redline_L && Get_Redline_R){
					turn2_ok = 1;
			}
		}

		 if (back2_ok == 1 && turn2_ok == 1 && turn1_ok == 1){
		   go_straight(90);
			 if(Get_Redline_L){
				scan_right(210,0);
			}
			if(Get_Redline_R){
				scan_left(210,0);
			}
		 	if(Get_line_0 || Get_line_1 || Get_line_2 ){
				stop();
				Green_LED_ON;
				HAL_Delay(9000);
			}
		 }

	}
/********************************************************************************************************************/

/***************************************************number8****************************************************************/
		if(Cx == 8){
			while(number_get_remind == 0){
				Buzzer_ON;
				HAL_Delay(500);
				Buzzer_OFF;
				number_get_remind = 1;
			}
			if(Cx == 8 && Get_yao && cross == 0 ){
		 while(start_move == 0){
				go_straight(70);
				HAL_Delay(800);
				start_move = 1;
			}
			go_straight(110);
			if(Get_Redline_L){
				scan_right(130,50);
			}
			if(Get_Redline_R){
				scan_left(130,50);
			}

			if(Cy == 0 && Get_Redline_L && Get_Redline_R){
				cross = 1;
		  	go_straight(110);
				HAL_Delay(1620);
				stop();
			}
		}
			if(cross == 1 && Cy == 0){
				for(uint8_t i=0;i<80;i++){
					go_back(i);
					HAL_Delay(12);
				}
				for(uint8_t i=0;i<80;i++){
			    go_straight(i);
					HAL_Delay(12);
				}
			}

			if(Cy == 1 && cross == 1 && turn_ok == 0  && back == 0){
				go_straight(110);
				if(Get_Redline_L){
					scan_right(200,0);
				}
				if(Get_Redline_R){
					scan_left(200,0);
				}
	     if(Get_Redline_L && Get_Redline_R){
					HAL_Delay(60);
					turn_left();
					HAL_Delay(1000);
				  turn_ok = 1;
			 }
			}

			if(Cy == 1 && cross == 1 && turn_ok == 1 && back == 0 && turn1_ok == 0){
				go_straight(80);
				if(Get_Redline_L){
					scan_right(210,0);
				}
				if(Get_Redline_R){
					scan_left(210,0);
				}
		 if(Get_line_0 || Get_line_1 || Get_line_2 ){
				stop();
				Red_LED_ON;
				back = 1;
				HAL_Delay(1000);
			}
		}

			if(Cy == 2 && cross == 1 && turn_ok == 0  && back == 0){
				go_straight(110);
				if(Get_Redline_L){
					scan_right(200,0);
				}
				if(Get_Redline_R){
					scan_left(200,0);
				}
	     if(Get_Redline_L && Get_Redline_R){
					HAL_Delay(60);
					turn_right();
					HAL_Delay(800);
				  turn_ok = 1;
			 }
			}
		if(Cy == 2 && cross == 1 && turn_ok == 1 && back == 0 && turn1_ok == 0){
				go_straight(80);
				if(Get_Redline_L){
					scan_right(210,0);
				}
				if(Get_Redline_R){
					scan_left(210,0);
				}
		 if(Get_line_0 || Get_line_1 || Get_line_2 ){
				stop();
				Red_LED_ON;
				back = 1;
				HAL_Delay(1000);
			}
		}

		 if(relse_yao && back == 1 && back_ok == 0){
			 	Red_LED_OFF;
			  back_ok = 1;
				turn_back(128,128);
				HAL_Delay(1500);
	  	}

		 if (Cy == 2 && back_ok == 1 && turn1_ok == 0){
				go_straight(110);
			if(Get_Redline_L){
					scan_right(210,0);
				}
				if(Get_Redline_R){
					scan_left(210,0);
				}
			if(Get_Redline_L && Get_Redline_R){
        turn_left();
				HAL_Delay(900);
				back2_ok = 1;
				turn1_ok = 1;
			}
		}

			if (Cy == 1 && back_ok == 1 && turn1_ok == 0){
				go_straight(110);
			if(Get_Redline_L){
					scan_right(210,0);
				}
				if(Get_Redline_R){
					scan_left(210,0);
				}
			if(Get_Redline_L && Get_Redline_R){
        turn_right();
				HAL_Delay(900);
				back2_ok = 1;
				turn1_ok = 1;
			}
		}

		 if (back2_ok == 1 && turn2_ok == 0 && turn1_ok == 1){
			 go_straight(140);
			if(Get_Redline_L){
				scan_right(210,0);
			}
			if(Get_Redline_R){
				scan_left(210,0);
			}
			if(Get_Redline_L && Get_Redline_R){
					turn2_ok = 1;
			}
		}

		 if (back2_ok == 1 && turn2_ok == 1 && turn1_ok == 1){
		   go_straight(90);
			 if(Get_Redline_L){
				scan_right(210,0);
			}
			if(Get_Redline_R){
				scan_left(210,0);
			}
		 	if(Get_line_0 || Get_line_1 || Get_line_2 ){
				stop();
				Green_LED_ON;
				HAL_Delay(9000);
			}
		 }

	}

	/*******************************************************************************************************************************************************************/
  }
  /* USER CODE END 3 */
}

void SystemClock_Config(void)
{
  RCC_OscInitTypeDef RCC_OscInitStruct = {0};
  RCC_ClkInitTypeDef RCC_ClkInitStruct = {0};

  /** Initializes the RCC Oscillators according to the specified parameters
  * in the RCC_OscInitTypeDef structure.
  */
  RCC_OscInitStruct.OscillatorType = RCC_OSCILLATORTYPE_HSE;
  RCC_OscInitStruct.HSEState = RCC_HSE_ON;
  RCC_OscInitStruct.HSEPredivValue = RCC_HSE_PREDIV_DIV1;
  RCC_OscInitStruct.HSIState = RCC_HSI_ON;
  RCC_OscInitStruct.PLL.PLLState = RCC_PLL_ON;
  RCC_OscInitStruct.PLL.PLLSource = RCC_PLLSOURCE_HSE;
  RCC_OscInitStruct.PLL.PLLMUL = RCC_PLL_MUL9;
  if (HAL_RCC_OscConfig(&RCC_OscInitStruct) != HAL_OK)
  {
    Error_Handler();
  }
  /** Initializes the CPU, AHB and APB buses clocks
  */
  RCC_ClkInitStruct.ClockType = RCC_CLOCKTYPE_HCLK|RCC_CLOCKTYPE_SYSCLK
                              |RCC_CLOCKTYPE_PCLK1|RCC_CLOCKTYPE_PCLK2;
  RCC_ClkInitStruct.SYSCLKSource = RCC_SYSCLKSOURCE_PLLCLK;
  RCC_ClkInitStruct.AHBCLKDivider = RCC_SYSCLK_DIV1;
  RCC_ClkInitStruct.APB1CLKDivider = RCC_HCLK_DIV2;
  RCC_ClkInitStruct.APB2CLKDivider = RCC_HCLK_DIV1;

  if (HAL_RCC_ClockConfig(&RCC_ClkInitStruct, FLASH_LATENCY_2) != HAL_OK)
  {
    Error_Handler();
  }
}

/* USER CODE BEGIN 4 */
void HAL_UART_RxCpltCallback(UART_HandleTypeDef *huart)
{
  uint16_t tem;
  if(huart->Instance==UART4)
  {
    tem=uart4_rxbuff;
    Openmv_Receive_Data(tem);
  }
HAL_UART_Receive_IT(&huart4,(void *)&uart4_rxbuff,1);
}

/* USER CODE END 4 */

void Error_Handler(void)
{
  __disable_irq();
  while (1)
  {
  }
}

/************************ (C) COPYRIGHT STMicroelectronics *****END OF FILE****/
